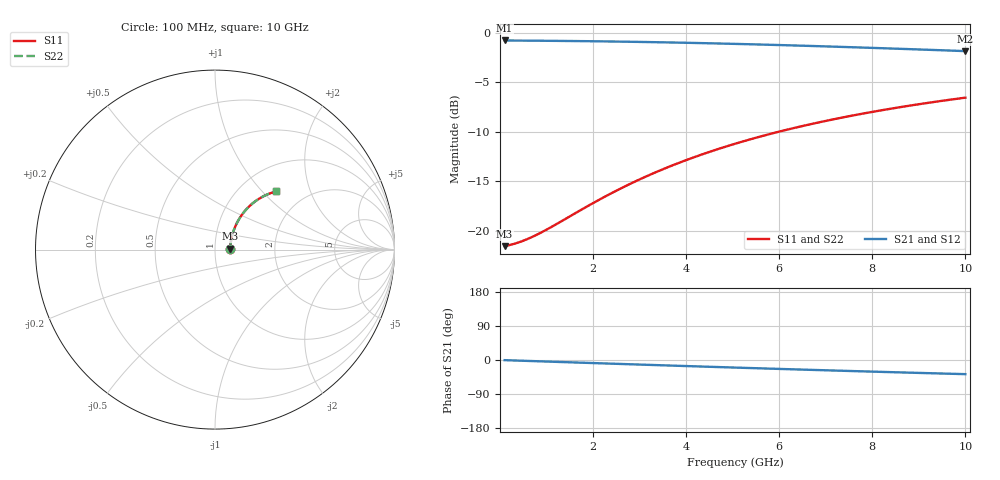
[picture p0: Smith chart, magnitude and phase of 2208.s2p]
# Hz S RI R 50.00
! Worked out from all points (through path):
!   100 points, 100 MHz to 10 GHz, reference 50 ohm
!   highest |S21| = -0.76 dB at 100 MHz (marker M1); lowest = -1.8 dB at 10 GHz (marker M2)
!   group delay of S21, straight-line fit = 10.4 ps
!   lowest |S11| = -21.6 dB at 100 MHz (marker M3), VSWR 1.18, Z = 59.1 + j0.578 ohm
!   |S11| at or under -10 dB: start of sweep to 5.979 GHz
!   |S22| runs from -21.6 to -6.5 dB; largest |S21 - S12| = 0
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1e8  0.0834 0.00486  0.9165 -0.0065  0.9165 -0.0065  0.0834 0.00486
3e8  0.0846 0.0145  0.9154 -0.0195  0.9154 -0.0195  0.0846 0.0145
4e8  0.0851 0.0194  0.9148 -0.0259  0.9148 -0.0259  0.0851 0.0194
5e8  0.0857 0.0242  0.9143 -0.0324  0.9143 -0.0324  0.0857 0.0242
7e8  0.0869 0.0338  0.913 -0.0453  0.913 -0.0453  0.0869 0.0338
9e8  0.0884 0.0433  0.9115 -0.0581  0.9115 -0.0581  0.0884 0.0433
1.1e9  0.09 0.0528  0.9098 -0.0709  0.9098 -0.0709  0.09 0.0528
1.8e9  0.0977 0.0855  0.9019 -0.1151  0.9019 -0.1151  0.0977 0.0855
2.2e9  0.1033 0.1037  0.8959 -0.1399  0.8959 -0.1399  0.1033 0.1037
2.6e9  0.11 0.1215  0.8891 -0.1643  0.8891 -0.1643  0.11 0.1215
3e9  0.1175 0.1387  0.8812 -0.1881  0.8812 -0.1881  0.1175 0.1387
3.4e9  0.1259 0.1555  0.8724 -0.2115  0.8724 -0.2115  0.1259 0.1555
3.8e9  0.1351 0.1716  0.8628 -0.2342  0.8628 -0.2342  0.1351 0.1716
4.2e9  0.1451 0.187  0.8524 -0.2563  0.8524 -0.2563  0.1451 0.187
4.6e9  0.1558 0.2018  0.8412 -0.2777  0.8412 -0.2777  0.1558 0.2018
5.1e9  0.1701 0.2193  0.8261 -0.3034  0.8261 -0.3034  0.1701 0.2193
5.9e9  0.1949 0.2447  0.8001 -0.3422  0.8001 -0.3422  0.1949 0.2447
6.7e9  0.2215 0.2669  0.772 -0.3778  0.772 -0.3778  0.2215 0.2669
7.5e9  0.2496 0.2858  0.7423 -0.4101  0.7423 -0.4101  0.2496 0.2858
8.4e9  0.2823 0.3032  0.7075 -0.4427  0.7075 -0.4427  0.2823 0.3032
9.2e9  0.3119 0.3152  0.6758 -0.4683  0.6758 -0.4683  0.3119 0.3152
1e10  0.3416 0.3242  0.6438 -0.4909  0.6438 -0.4909  0.3416 0.3242
